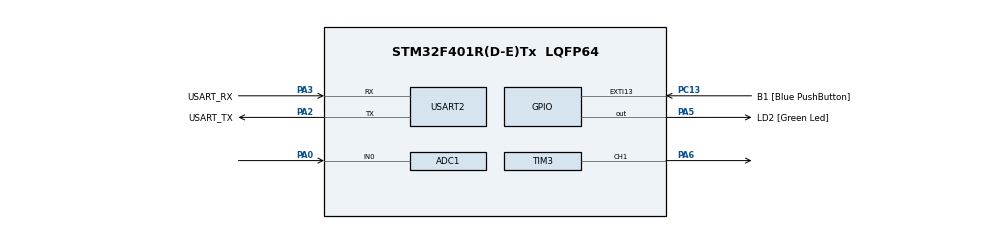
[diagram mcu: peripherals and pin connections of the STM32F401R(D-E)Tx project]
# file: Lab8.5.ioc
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ADC1.Channel-1\#ChannelRegularConversion=ADC_CHANNEL_0
ADC1.ContinuousConvMode=ENABLE
ADC1.EOCSelection=ADC_EOC_SEQ_CONV
ADC1.NbrOfConversionFlag=1
ADC1.Rank-1\#ChannelRegularConversion=1
ADC1.Resolution=ADC_RESOLUTION_8B
ADC1.SamplingTime-1\#ChannelRegularConversion=ADC_SAMPLETIME_3CYCLES
ADC1.master=1
Mcu.Family=STM32F4
Mcu.Name=STM32F401R(D-E)Tx
Mcu.Package=LQFP64
NVIC.PriorityGroup=NVIC_PRIORITYGROUP_4
PA0-WKUP.Signal=ADCx_IN0
PA13.GPIO_Label=TMS
PA13.Mode=Trace_Asynchronous_SW
PA13.Signal=SYS_JTMS-SWDIO
PA14.GPIO_Label=TCK
PA14.Mode=Trace_Asynchronous_SW
PA14.Signal=SYS_JTCK-SWCLK
PA2.GPIO_Label=USART_TX
PA2.GPIO_Mode=GPIO_MODE_AF_PP
PA2.GPIO_PuPd=GPIO_NOPULL
PA2.GPIO_Speed=GPIO_SPEED_FREQ_LOW
PA2.Mode=Asynchronous
PA2.Signal=USART2_TX
PA3.GPIO_Label=USART_RX
PA3.GPIO_Mode=GPIO_MODE_AF_PP
PA3.GPIO_PuPd=GPIO_NOPULL
PA3.GPIO_Speed=GPIO_SPEED_FREQ_LOW
PA3.Mode=Asynchronous
PA3.Signal=USART2_RX
PA5.GPIO_Label=LD2 [Green Led]
PA5.GPIO_Mode=GPIO_MODE_OUTPUT_PP
PA5.GPIO_PuPd=GPIO_NOPULL
PA5.GPIO_Speed=GPIO_SPEED_FREQ_LOW
PA5.Signal=GPIO_Output
PA6.Signal=S_TIM3_CH1
PB3.GPIO_Label=SWO
PB3.Mode=Trace_Asynchronous_SW
PB3.Signal=SYS_JTDO-SWO
PC13-ANTI_TAMP.GPIO_Label=B1 [Blue PushButton]
PC13-ANTI_TAMP.GPIO_ModeDefaultEXTI=GPIO_MODE_IT_FALLING
PC13-ANTI_TAMP.GPIO_PuPd=GPIO_NOPULL
PC13-ANTI_TAMP.Signal=GPXTI13
PC14-OSC32_IN.Mode=LSE-External-Oscillator
PC14-OSC32_IN.Signal=RCC_OSC32_IN
PC15-OSC32_OUT.Mode=LSE-External-Oscillator
PC15-OSC32_OUT.Signal=RCC_OSC32_OUT
PH0\ -\ OSC_IN.Mode=HSE-External-Clock-Source
PH0\ -\ OSC_IN.Signal=RCC_OSC_IN
PH1\ -\ OSC_OUT.Mode=HSE-External-Clock-Source
PH1\ -\ OSC_OUT.Signal=RCC_OSC_OUT
ProjectManager.HeapSize=0x200
ProjectManager.StackSize=0x400
ProjectManager.TargetToolchain=STM32CubeIDE
RCC.48MHZClocksFreq_Value=48000000
RCC.AHBFreq_Value=84000000
RCC.APB1CLKDivider=RCC_HCLK_DIV2
RCC.APB1Freq_Value=42000000
RCC.APB1TimFreq_Value=84000000
RCC.APB2Freq_Value=84000000
RCC.APB2TimFreq_Value=84000000
RCC.CortexFreq_Value=84000000
RCC.HCLKFreq_Value=84000000
RCC.HSE_VALUE=8000000
RCC.HSI_VALUE=16000000
RCC.PLLN=336
RCC.PLLP=RCC_PLLP_DIV4
RCC.PLLQ=7
RCC.SYSCLKFreq_VALUE=84000000
RCC.SYSCLKSource=RCC_SYSCLKSOURCE_PLLCLK
RCC.VCOOutputFreq_Value=336000000
SH.ADCx_IN0.0=ADC1_IN0,IN0
SH.S_TIM3_CH1.0=TIM3_CH1,Output Compare1 CH1
TIM3.Channel-Output\ Compare1\ CH1=TIM_CHANNEL_1
USART2.VirtualMode=VM_ASYNC
VP_TIM3_VS_ClockSourceINT.Mode=Internal
board=NUCLEO-F401RE

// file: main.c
/* USER CODE BEGIN Header */
/**
 ******************************************************************************
 * @file           : main.c
 * @brief          : Main program body
 ******************************************************************************
 * @attention
 *
 * Copyright (c) 2025 STMicroelectronics.
 * All rights reserved.
 *
 * This software is licensed under terms that can be found in the LICENSE file
 * in the root directory of this software component.
 * If no LICENSE file comes with this software, it is provided AS-IS.
 *
 ******************************************************************************
 */
/* USER CODE END Header */
#include "main.h"

/* USER CODE BEGIN PD */
#define MIN_FREQ_INC 625
#define MAX_FREQ_INC 111
/* USER CODE END PD */

void SystemClock_Config(void);
static void MX_GPIO_Init(void);
static void MX_USART2_UART_Init(void);
static void MX_ADC1_Init(void);
static void MX_TIM3_Init(void);

int main(void) {

	/* MCU Configuration--------------------------------------------------------*/

	/* Reset of all peripherals, Initializes the Flash interface and the Systick. */
	LL_APB2_GRP1_EnableClock(LL_APB2_GRP1_PERIPH_SYSCFG);
	LL_APB1_GRP1_EnableClock(LL_APB1_GRP1_PERIPH_PWR);

	/* System interrupt init*/
	NVIC_SetPriorityGrouping(NVIC_PRIORITYGROUP_4);

	/* Configure the system clock */
	SystemClock_Config();

	/* Initialize all configured peripherals */
	MX_GPIO_Init();
	MX_USART2_UART_Init();
	MX_ADC1_Init();
	MX_TIM3_Init();
	/* USER CODE BEGIN 2 */
	LL_DBGMCU_APB1_GRP1_FreezePeriph(LL_DBGMCU_APB1_GRP1_TIM3_STOP);

	LL_TIM_WriteReg(TIM3, PSC, 83);			// 61 in decimal

	LL_TIM_WriteReg(TIM3, ARR, 0xFFFF);			// 999 in decimal
	LL_TIM_WriteReg(TIM3, CCER, LL_TIM_ReadReg(TIM3, CCER) | 0x01);
	LL_TIM_WriteReg(TIM3, CCMR1, LL_TIM_ReadReg(TIM3, CCMR1) | 0b00110000);
	LL_TIM_WriteReg(TIM3, CCR1, MIN_FREQ_INC -1);

	LL_ADC_WriteReg(ADC1, CR2, LL_ADC_ReadReg(ADC1,CR2) | 0x01);		// Enable ADC
	LL_ADC_WriteReg(ADC1, CR2, LL_ADC_ReadReg(ADC1,CR2) | (1 << 30));	// Start conversion
	uint8_t voltage;
	uint16_t timeInterval;

	LL_TIM_WriteReg(TIM3, CR1, LL_TIM_ReadReg(TIM3,CR1) | 0x01);
	/* USER CODE END 2 */

	/* Infinite loop */
	/* USER CODE BEGIN WHILE */
	SysTick_Config(SystemCoreClock / 1000);
	while (1) {
		// Check for ADC_EOC
		if ((LL_ADC_ReadReg(ADC1,SR) & 0x02) == 0x02) {
			voltage = LL_ADC_ReadReg(ADC1, DR) & 0x00FF;	// Get converted value
			timeInterval = MIN_FREQ_INC
					+ ((MAX_FREQ_INC - MIN_FREQ_INC) * voltage) / 255;	// Compute interval
			LL_ADC_WriteReg(ADC1, SR, LL_ADC_ReadReg(ADC1,SR) & (~0x02));	// Clear EOC
		}

		// Check for CC1IF
		if (LL_TIM_ReadReg(TIM3, SR) & 0x02) {
			LL_TIM_WriteReg(TIM3, CCR1,
					LL_TIM_ReadReg(TIM3, CCR1) + timeInterval);	// Update CC1R
			LL_TIM_WriteReg(TIM3, SR, LL_TIM_ReadReg(TIM3,SR) & (~0x02)); // Clear CC1IF
		}

		/* USER CODE END WHILE */

	}
}

void SystemClock_Config(void) {
	LL_FLASH_SetLatency(LL_FLASH_LATENCY_2);
	while (LL_FLASH_GetLatency() != LL_FLASH_LATENCY_2) {
	}
	LL_PWR_SetRegulVoltageScaling(LL_PWR_REGU_VOLTAGE_SCALE2);
	LL_RCC_HSI_SetCalibTrimming(16);
	LL_RCC_HSI_Enable();

	/* Wait till HSI is ready */
	while (LL_RCC_HSI_IsReady() != 1) {

	}
	LL_RCC_PLL_ConfigDomain_SYS(LL_RCC_PLLSOURCE_HSI, LL_RCC_PLLM_DIV_16, 336,
			LL_RCC_PLLP_DIV_4);
	LL_RCC_PLL_Enable();

	/* Wait till PLL is ready */
	while (LL_RCC_PLL_IsReady() != 1) {

	}
	while (LL_PWR_IsActiveFlag_VOS() == 0) {
	}
	LL_RCC_SetAHBPrescaler(LL_RCC_SYSCLK_DIV_1);
	LL_RCC_SetAPB1Prescaler(LL_RCC_APB1_DIV_2);
	LL_RCC_SetAPB2Prescaler(LL_RCC_APB2_DIV_1);
	LL_RCC_SetSysClkSource(LL_RCC_SYS_CLKSOURCE_PLL);

	/* Wait till System clock is ready */
	while (LL_RCC_GetSysClkSource() != LL_RCC_SYS_CLKSOURCE_STATUS_PLL) {

	}
	LL_Init1msTick(84000000);
	LL_SetSystemCoreClock(84000000);
	LL_RCC_SetTIMPrescaler(LL_RCC_TIM_PRESCALER_TWICE);
}

static void MX_ADC1_Init(void) {

	LL_ADC_InitTypeDef ADC_InitStruct = { 0 };
	LL_ADC_REG_InitTypeDef ADC_REG_InitStruct = { 0 };
	LL_ADC_CommonInitTypeDef ADC_CommonInitStruct = { 0 };

	LL_GPIO_InitTypeDef GPIO_InitStruct = { 0 };

	/* Peripheral clock enable */
	LL_APB2_GRP1_EnableClock(LL_APB2_GRP1_PERIPH_ADC1);

	LL_AHB1_GRP1_EnableClock(LL_AHB1_GRP1_PERIPH_GPIOA);
	/**ADC1 GPIO Configuration
	 PA0-WKUP   ------> ADC1_IN0
	 */
	GPIO_InitStruct.Pin = LL_GPIO_PIN_0;
	GPIO_InitStruct.Mode = LL_GPIO_MODE_ANALOG;
	GPIO_InitStruct.Pull = LL_GPIO_PULL_NO;
	LL_GPIO_Init(GPIOA, &GPIO_InitStruct);

	/** Common config
	 */
	ADC_InitStruct.Resolution = LL_ADC_RESOLUTION_8B;
	ADC_InitStruct.DataAlignment = LL_ADC_DATA_ALIGN_RIGHT;
	ADC_InitStruct.SequencersScanMode = LL_ADC_SEQ_SCAN_DISABLE;
	LL_ADC_Init(ADC1, &ADC_InitStruct);
	ADC_REG_InitStruct.TriggerSource = LL_ADC_REG_TRIG_SOFTWARE;
	ADC_REG_InitStruct.SequencerLength = LL_ADC_REG_SEQ_SCAN_DISABLE;
	ADC_REG_InitStruct.SequencerDiscont = LL_ADC_REG_SEQ_DISCONT_DISABLE;
	ADC_REG_InitStruct.ContinuousMode = LL_ADC_REG_CONV_CONTINUOUS;
	ADC_REG_InitStruct.DMATransfer = LL_ADC_REG_DMA_TRANSFER_NONE;
	LL_ADC_REG_Init(ADC1, &ADC_REG_InitStruct);
	LL_ADC_REG_SetFlagEndOfConversion(ADC1, LL_ADC_REG_FLAG_EOC_SEQUENCE_CONV);
	ADC_CommonInitStruct.CommonClock = LL_ADC_CLOCK_SYNC_PCLK_DIV4;
	LL_ADC_CommonInit(__LL_ADC_COMMON_INSTANCE(ADC1), &ADC_CommonInitStruct);

	/** Configure Regular Channel
	 */
	LL_ADC_REG_SetSequencerRanks(ADC1, LL_ADC_REG_RANK_1, LL_ADC_CHANNEL_0);
	LL_ADC_SetChannelSamplingTime(ADC1, LL_ADC_CHANNEL_0,
			LL_ADC_SAMPLINGTIME_3CYCLES);

}

static void MX_TIM3_Init(void) {

	LL_TIM_InitTypeDef TIM_InitStruct = { 0 };
	LL_TIM_OC_InitTypeDef TIM_OC_InitStruct = { 0 };

	LL_GPIO_InitTypeDef GPIO_InitStruct = { 0 };

	/* Peripheral clock enable */
	LL_APB1_GRP1_EnableClock(LL_APB1_GRP1_PERIPH_TIM3);

	TIM_InitStruct.Prescaler = 0;
	TIM_InitStruct.CounterMode = LL_TIM_COUNTERMODE_UP;
	TIM_InitStruct.Autoreload = 65535;
	TIM_InitStruct.ClockDivision = LL_TIM_CLOCKDIVISION_DIV1;
	LL_TIM_Init(TIM3, &TIM_InitStruct);
	LL_TIM_DisableARRPreload(TIM3);
	LL_TIM_SetClockSource(TIM3, LL_TIM_CLOCKSOURCE_INTERNAL);
	TIM_OC_InitStruct.OCMode = LL_TIM_OCMODE_FROZEN;
	TIM_OC_InitStruct.OCState = LL_TIM_OCSTATE_DISABLE;
	TIM_OC_InitStruct.OCNState = LL_TIM_OCSTATE_DISABLE;
	TIM_OC_InitStruct.CompareValue = 0;
	TIM_OC_InitStruct.OCPolarity = LL_TIM_OCPOLARITY_HIGH;
	LL_TIM_OC_Init(TIM3, LL_TIM_CHANNEL_CH1, &TIM_OC_InitStruct);
	LL_TIM_OC_DisableFast(TIM3, LL_TIM_CHANNEL_CH1);
	LL_TIM_SetTriggerOutput(TIM3, LL_TIM_TRGO_RESET);
	LL_TIM_DisableMasterSlaveMode(TIM3);
	LL_AHB1_GRP1_EnableClock(LL_AHB1_GRP1_PERIPH_GPIOA);
	/**TIM3 GPIO Configuration
	 PA6   ------> TIM3_CH1
	 */
	GPIO_InitStruct.Pin = LL_GPIO_PIN_6;
	GPIO_InitStruct.Mode = LL_GPIO_MODE_ALTERNATE;
	GPIO_InitStruct.Speed = LL_GPIO_SPEED_FREQ_LOW;
	GPIO_InitStruct.OutputType = LL_GPIO_OUTPUT_PUSHPULL;
	GPIO_InitStruct.Pull = LL_GPIO_PULL_NO;
	GPIO_InitStruct.Alternate = LL_GPIO_AF_2;
	LL_GPIO_Init(GPIOA, &GPIO_InitStruct);

}

static void MX_USART2_UART_Init(void) {

	LL_USART_InitTypeDef USART_InitStruct = { 0 };

	LL_GPIO_InitTypeDef GPIO_InitStruct = { 0 };

	/* Peripheral clock enable */
	LL_APB1_GRP1_EnableClock(LL_APB1_GRP1_PERIPH_USART2);

	LL_AHB1_GRP1_EnableClock(LL_AHB1_GRP1_PERIPH_GPIOA);
	/**USART2 GPIO Configuration
	 PA2   ------> USART2_TX
	 PA3   ------> USART2_RX
	 */
	GPIO_InitStruct.Pin = USART_TX_Pin | USART_RX_Pin;
	GPIO_InitStruct.Mode = LL_GPIO_MODE_ALTERNATE;
	GPIO_InitStruct.Speed = LL_GPIO_SPEED_FREQ_LOW;
	GPIO_InitStruct.OutputType = LL_GPIO_OUTPUT_PUSHPULL;
	GPIO_InitStruct.Pull = LL_GPIO_PULL_NO;
	GPIO_InitStruct.Alternate = LL_GPIO_AF_7;
	LL_GPIO_Init(GPIOA, &GPIO_InitStruct);

	USART_InitStruct.BaudRate = 115200;
	USART_InitStruct.DataWidth = LL_USART_DATAWIDTH_8B;
	USART_InitStruct.StopBits = LL_USART_STOPBITS_1;
	USART_InitStruct.Parity = LL_USART_PARITY_NONE;
	USART_InitStruct.TransferDirection = LL_USART_DIRECTION_TX_RX;
	USART_InitStruct.HardwareFlowControl = LL_USART_HWCONTROL_NONE;
	USART_InitStruct.OverSampling = LL_USART_OVERSAMPLING_16;
	LL_USART_Init(USART2, &USART_InitStruct);
	LL_USART_ConfigAsyncMode(USART2);
	LL_USART_Enable(USART2);

}

static void MX_GPIO_Init(void) {
	LL_EXTI_InitTypeDef EXTI_InitStruct = { 0 };
	LL_GPIO_InitTypeDef GPIO_InitStruct = { 0 };

	/* GPIO Ports Clock Enable */
	LL_AHB1_GRP1_EnableClock(LL_AHB1_GRP1_PERIPH_GPIOC);
	LL_AHB1_GRP1_EnableClock(LL_AHB1_GRP1_PERIPH_GPIOH);
	LL_AHB1_GRP1_EnableClock(LL_AHB1_GRP1_PERIPH_GPIOA);
	LL_AHB1_GRP1_EnableClock(LL_AHB1_GRP1_PERIPH_GPIOB);

	/**/
	LL_GPIO_ResetOutputPin(LD2_GPIO_Port, LD2_Pin);

	/**/
	LL_SYSCFG_SetEXTISource(LL_SYSCFG_EXTI_PORTC, LL_SYSCFG_EXTI_LINE13);

	/**/
	EXTI_InitStruct.Line_0_31 = LL_EXTI_LINE_13;
	EXTI_InitStruct.LineCommand = ENABLE;
	EXTI_InitStruct.Mode = LL_EXTI_MODE_IT;
	EXTI_InitStruct.Trigger = LL_EXTI_TRIGGER_FALLING;
	LL_EXTI_Init(&EXTI_InitStruct);

	/**/
	LL_GPIO_SetPinPull(B1_GPIO_Port, B1_Pin, LL_GPIO_PULL_NO);

	/**/
	LL_GPIO_SetPinMode(B1_GPIO_Port, B1_Pin, LL_GPIO_MODE_INPUT);

	/**/
	GPIO_InitStruct.Pin = LD2_Pin;
	GPIO_InitStruct.Mode = LL_GPIO_MODE_OUTPUT;
	GPIO_InitStruct.Speed = LL_GPIO_SPEED_FREQ_LOW;
	GPIO_InitStruct.OutputType = LL_GPIO_OUTPUT_PUSHPULL;
	GPIO_InitStruct.Pull = LL_GPIO_PULL_NO;
	LL_GPIO_Init(LD2_GPIO_Port, &GPIO_InitStruct);

}

void Error_Handler(void) {
	__disable_irq();
	while (1) {
	}
}
